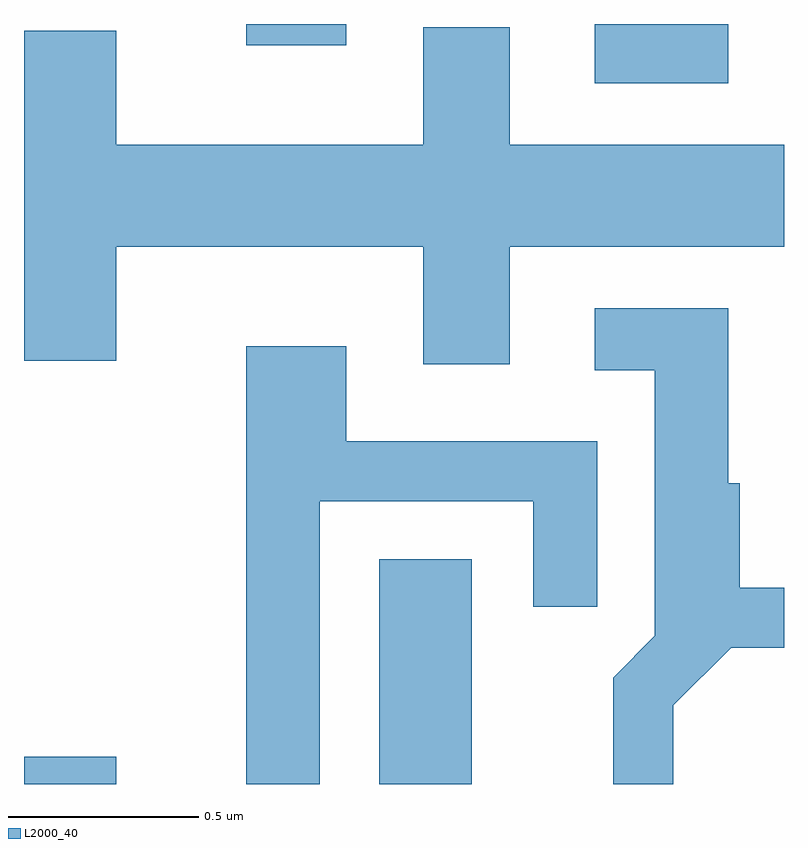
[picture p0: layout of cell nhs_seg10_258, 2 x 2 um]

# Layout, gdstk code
import gdstk
lib = gdstk.Library(unit=1e-6, precision=1e-09)
def R(c, l, rs):  # rectangles x0, y0, x1, y1
    for r in rs: c.add(gdstk.rectangle(r[:2], r[2:], *l))
def P(c, l, *ps):  # polygons
    for p in ps: c.add(gdstk.Polygon(p, *l))
L2000_40 = (2000, 40)

nhs_seg10_258 = lib.new_cell('nhs_seg10_258')
R(nhs_seg10_258, L2000_40, [(186.611,2203.522,186.854,2203.594), (187.546,2203.522,187.789,2204.114), (188.113,2205.366,188.464,2205.522), (187.196,2205.466,187.459,2205.522)])
P(nhs_seg10_258, L2000_40, [(187.889,2204.936),(188.611,2204.936),(188.611,2205.204),(187.889,2205.204),(187.889,2205.514),(187.661,2205.514),(187.661,2205.204),(186.854,2205.204),(186.854,2205.504),(186.611,2205.504),(186.611,2204.636),(186.854,2204.636),(186.854,2204.936),(187.661,2204.936),(187.661,2204.626),(187.889,2204.626)],
  [(188.319,2203.729),(188.472,2203.881),(188.611,2203.881),(188.611,2204.039),(188.494,2204.039),(188.494,2204.314),(188.464,2204.314),(188.464,2204.774),(188.113,2204.774),(188.113,2204.611),(188.271,2204.611),(188.271,2203.912),(188.161,2203.802),(188.161,2203.522),(188.319,2203.522)],
  [(187.389,2204.266),(187.951,2204.266),(187.951,2203.988),(188.119,2203.988),(188.119,2204.424),(187.459,2204.424),(187.459,2204.674),(187.196,2204.674),(187.196,2203.522),(187.389,2203.522)])

lib.write_gds('nhs_seg10_258.gds')
